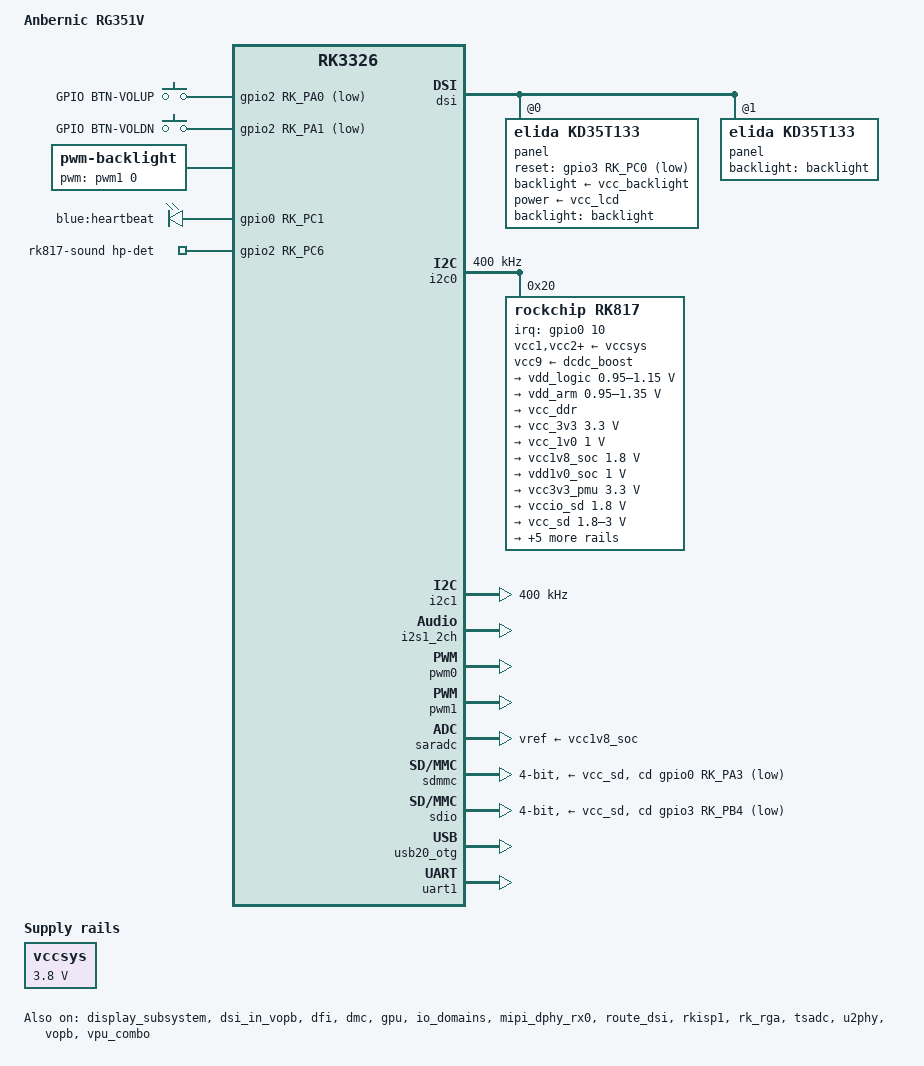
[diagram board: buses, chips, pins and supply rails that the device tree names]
// SPDX-License-Identifier: (GPL-2.0+ OR MIT)
/*
 * Copyright (c) 2021 Anbernic
 *
 * Anbernic RG351V
 *
 */

/dts-v1/;
#include <dt-bindings/display/drm_mipi_dsi.h>
#include <dt-bindings/gpio/gpio.h>
#include <dt-bindings/input/input.h>
#include <dt-bindings/pinctrl/rockchip.h>
#include <dt-bindings/sensor-dev.h>
#include "rockchip/rk3326.dtsi"
#include "rockchip/rk3326-linux.dtsi"

/ {
	model = "Anbernic RG351V";
	compatible = "rockchip,rk3326-rg351v-linux", "rockchip,rk3326";

	chosen {
                bootargs = "";
	};

	gpio_keys: rg351-keys {
		compatible = "gpio-keys";
		#address-cells = <1>;
		#size-cells = <0>;
		autorepeat;
		button@0 {
			label = "GPIO BTN-VOLUP";
			linux,code = <KEY_VOLUMEUP>;
			gpios = <&gpio2 RK_PA0 GPIO_ACTIVE_LOW>;
		};
		button@1 {
			label = "GPIO BTN-VOLDN";
			linux,code = <KEY_VOLUMEDOWN>;
			gpios = <&gpio2 RK_PA1 GPIO_ACTIVE_LOW>;
		};
	};

	fiq-debugger {
		compatible = "rockchip,fiq-debugger";
		rockchip,serial-id = <2>;
		rockchip,wake-irq = <0>;
		/* If enable uart uses irq instead of fiq */
		rockchip,irq-mode-enable = <0>;
		rockchip,baudrate = <115200>;  /* Only 115200 and 1500000 */
		interrupts = <GIC_SPI 127 IRQ_TYPE_LEVEL_LOW>;
		pinctrl-names = "default";
		pinctrl-0 = <&uart2m1_xfer>;
		status = "okay";
	};

	backlight: backlight {
		compatible = "pwm-backlight";
		pwms = <&pwm1 0 62745 0>;
		brightness-levels = <
			  2   3   4   5   6   7
			  8   9  10  11  12  13  14  15
			 16  17  18  19  20  21  22  23
			 24  25  26  27  28  29  30  31
			 32  33  34  35  36  37  38  39
			 40  41  42  43  44  45  46  47
			 48  49  50  51  52  53  54  55
			 56  57  58  59  60  61  62  63
			 64  65  66  67  68  69  70  71
			 72  73  74  75  76  77  78  79
			 80  81  82  83  84  85  86  87
			 88  89  90  91  92  93  94  95
			 96  97  98  99 100 101 102 >;
		default-brightness-level = <51>; /* default 50% */
	};

	leds: gpio_leds {
		compatible = "gpio-leds";

		pinctrl-names = "led_pins";
		pinctrl-0 = <&led_pins>;

		/* Blue LED : GPIO0_C1 */
		heartbeat {
			label = "blue:heartbeat";
			gpios = <&gpio0 RK_PC1 GPIO_ACTIVE_HIGH>;
			linux,default-trigger = "heartbeat";
		};
	};

	rk817-sound {
		compatible = "simple-audio-card";
		simple-audio-card,format = "i2s";
		simple-audio-card,name = "rockchip,rk817-codec";
		simple-audio-card,mclk-fs = <256>;
		simple-audio-card,widgets =
			"Microphone", "Mic Jack",
			"Headphone", "Headphone Jack";
		simple-audio-card,routing =
			"MIC_IN", "Mic Jack",
			/*"IN1P", "Mic Jack",*/
			"Headphone Jack", "HPOL",
			"Headphone Jack", "HPOR";
		simple-audio-card,hp-det-gpio = <&gpio2 RK_PC6 GPIO_ACTIVE_HIGH>;
		simple-audio-card,codec-hp-det = <1>;
		simple-audio-card,cpu {
			sound-dai = <&i2s1_2ch>;
		};
		simple-audio-card,codec {
			sound-dai = <&rk817_codec>;
		};
	};

	vccsys: vccsys {
		compatible = "regulator-fixed";
		regulator-name = "vcc3v8_sys";
		regulator-always-on;
		regulator-min-microvolt = <3800000>;
		regulator-max-microvolt = <3800000>;
	};

/*	vcc_host: vcc_host {
		compatible = "regulator-fixed";
		regulator-name = "vcc_host";
		regulator-min-microvolt = <5000000>;
		regulator-max-microvolt = <5000000>;

		gpio = <&gpio0 RK_PB7 GPIO_ACTIVE_HIGH>;
		enable-active-high;
		regulator-always-on;
		vin-supply = <&vccsys>;
	};*/
};

&bus_apll {
	bus-supply = <&vdd_logic>;
	status = "okay";
};

&cpu0 {
	cpu-supply = <&vdd_arm>;
};

&cpu0_opp_table {
	rockchip,avs = <1>;

	/* bin scaling clock 1.296MHz */
	rockchip,bin-scaling-sel = <
		0	10
		1	13
		2	16
		3	20
	>;

	/delete-node/ opp-408000000;
	/delete-node/ opp-600000000;
	/delete-node/ opp-696000000;
	/delete-node/ opp-1416000000;
	/delete-node/ opp-1512000000;

	opp-816000000 {
		opp-hz = /bits/ 64 <816000000>;
		opp-microvolt = <1050000 1050000 1350000>;
		opp-microvolt-L0 = <1050000 1050000 1350000>;
		opp-microvolt-L1 = <1000000 1000000 1350000>;
		opp-microvolt-L2 = <1000000 1000000 1350000>;
		opp-microvolt-L3 = <950000  950000  1350000>;
		clock-latency-ns = <40000>;
		opp-suspend;
	};

	opp-912000000 {
		opp-hz = /bits/ 64 <912000000>;
		opp-microvolt = <1125000 1125000 1350000>;
		opp-microvolt-L0 = <1125000 1125000 1350000>;
		opp-microvolt-L1 = <1075000 1075000 1350000>;
		opp-microvolt-L2 = <1075000 1075000 1350000>;
		opp-microvolt-L3 = <1000000 1000000 1350000>;
		clock-latency-ns = <40000>;
	};

	opp-1008000000 {
		opp-hz = /bits/ 64 <1008000000>;
		opp-microvolt = <1175000 1175000 1350000>;
		opp-microvolt-L0 = <1175000 1175000 1350000>;
		opp-microvolt-L1 = <1125000 1125000 1350000>;
		opp-microvolt-L2 = <1125000 1125000 1350000>;
		opp-microvolt-L3 = <1050000 1050000 1350000>;
		clock-latency-ns = <40000>;
	};

	opp-1200000000 {
		opp-hz = /bits/ 64 <1200000000>;
		opp-microvolt = <1300000 1300000 1350000>;
		opp-microvolt-L0 = <1300000 1300000 1350000>;
		opp-microvolt-L1 = <1275000 1275000 1350000>;
		opp-microvolt-L2 = <1250000 1250000 1350000>;
		opp-microvolt-L3 = <1200000 1200000 1350000>;
		clock-latency-ns = <40000>;
	};

	opp-1248000000 {
		opp-hz = /bits/ 64 <1248000000>;
		opp-microvolt = <1350000 1350000 1350000>;
		opp-microvolt-L0 = <1350000 1350000 1350000>;
		opp-microvolt-L1 = <1300000 1300000 1350000>;
		opp-microvolt-L2 = <1275000 1275000 1350000>;
		opp-microvolt-L3 = <1225000 1225000 1350000>;
		clock-latency-ns = <40000>;
	};

	opp-1296000000 {
		opp-hz = /bits/ 64 <1296000000>;
		opp-microvolt = <1350000 1350000 1350000>;
		opp-microvolt-L0 = <1350000 1350000 1350000>;
		opp-microvolt-L1 = <1350000 1350000 1350000>;
		opp-microvolt-L2 = <1300000 1300000 1350000>;
		opp-microvolt-L3 = <1250000 1250000 1350000>;
		clock-latency-ns = <40000>;
	};

	opp-1320000000 {
		opp-hz = /bits/ 64 <1320000000>;
		opp-microvolt = <1350000 1350000 1350000>;
		opp-microvolt-L0 = <1350000 1350000 1350000>;
		opp-microvolt-L1 = <1350000 1350000 1350000>;
		opp-microvolt-L2 = <1300000 1300000 1350000>;
		opp-microvolt-L3 = <1250000 1250000 1350000>;
		clock-latency-ns = <40000>;
	};

	opp-1344000000 {
		opp-hz = /bits/ 64 <1344000000>;
		opp-microvolt = <1350000 1350000 1350000>;
		opp-microvolt-L0 = <1350000 1350000 1350000>;
		opp-microvolt-L1 = <1350000 1350000 1350000>;
		opp-microvolt-L2 = <1300000 1300000 1350000>;
		opp-microvolt-L3 = <1250000 1250000 1350000>;
		clock-latency-ns = <40000>;
	};

	opp-1368000000 {
		opp-hz = /bits/ 64 <1368000000>;
		opp-microvolt = <1350000 1350000 1350000>;
		opp-microvolt-L0 = <1350000 1350000 1350000>;
		opp-microvolt-L1 = <1350000 1350000 1350000>;
		opp-microvolt-L2 = <1300000 1300000 1350000>;
		opp-microvolt-L3 = <1250000 1250000 1350000>;
		clock-latency-ns = <40000>;
	};
};

&display_subsystem {
	status = "okay";
};

&dsi {
	status = "okay";

	panel@0 {
		compatible = "elida,kd35t133", "simple-panel-dsi";
		reg = <0>;
		id = [30 52];

		/* pwm1 backlight */
		backlight = <&backlight>;
		/* RK817 LDO7 */
		backlight-supply = <&vcc_backlight>;
		/* RK817 LDO8 */
		power-supply = <&vcc_lcd>;

		/* Rev 0.2 LCD reset gpio GPIO3.C0 */
		reset-gpios = <&gpio3 RK_PC0 GPIO_ACTIVE_LOW>;

		prepare-delay-ms = <20>;
		reset-delay-ms = <150>;
		init-delay-ms = <20>;
		enable-delay-ms = <120>;
		disable-delay-ms = <50>;
		unprepare-delay-ms = <20>;

		/* LCD size */
		width-mm = <52>;
		height-mm = <70>;

		dsi,flags = <(MIPI_DSI_MODE_VIDEO           |
			      MIPI_DSI_MODE_VIDEO_BURST     |
			      MIPI_DSI_MODE_LPM             |
			      MIPI_DSI_MODE_EOT_PACKET)>;

		dsi,format = <MIPI_DSI_FMT_RGB888>;
		dsi,lanes = <4>;

		/*
			- panel-init-sequence data description -
			  mipi_cmd, delay(ms), len, lcd_cmd, lcd_data...

			- mipi_cmd description -
			  05 : MIPI_DSI_SHORT_WRITE
			  15 : MIPI_DSI_SHORT_WRITE_PARAM
			  39 : MIPI_DSI_LONG_WRITE

			- ILI9486 (Initialize sequence) -
			  11: Sleep out & 250ms wait
			  E0: PositiveGamma
			  E1: NegativeGamma
			  C0: PowerControl_1
			  C1: PowerControl_2
			  C5: VcomControl
			  36: MemoryAccess
			  3A: InterfacePixelFormat
			  B0: InterfaceModeControl
			  B1: FrameRateControl
			  B4: DisplayInversionControl
			  B6: DisplayFunctionControl
			  E9: SetImageFunction
			  F7: AdjustControl_3
			  21: DisplayInversionOn
			  29: DisplayOn & 50ms wait
		*/

		panel-init-sequence = [
			15 00 02 FF 30
			15 00 02 FF 52
			15 00 02 FF 01
			15 00 02 E3 00
			15 00 02 03 40
			15 00 02 04 00
			15 00 02 05 03
			15 00 02 24 12
			15 00 02 25 1E
			15 00 02 26 28
			15 00 02 27 52
			15 00 02 28 57
			15 00 02 29 01
			15 00 02 2A DF
			15 00 02 38 9C
			15 00 02 39 A7
			15 00 02 3A 53
			15 00 02 44 00
			15 00 02 49 3C
			15 00 02 59 FE
			15 00 02 5C 00
			15 00 02 91 77
			15 00 02 92 77
			15 00 02 A0 55
			15 00 02 A1 50
			15 00 02 A4 9C
			15 00 02 A7 02
			15 00 02 A8 01
			15 00 02 A9 01
			15 00 02 AA FC
			15 00 02 AB 28
			15 00 02 AC 06
			15 00 02 AD 06
			15 00 02 AE 06
			15 00 02 AF 03
			15 00 02 B0 08
			15 00 02 B1 26
			15 00 02 B2 28
			15 00 02 B3 28
			15 00 02 B4 33
			15 00 02 B5 08
			15 00 02 B6 26
			15 00 02 B7 08
			15 00 02 B8 26
			15 00 02 FF 30
			15 00 02 FF 52
			15 00 02 FF 02
			15 00 02 B0 0B
			15 00 02 B1 16
			15 00 02 B2 17
			15 00 02 B3 2C
			15 00 02 B4 32
			15 00 02 B5 3B
			15 00 02 B6 29
			15 00 02 B7 40
			15 00 02 B8 0D
			15 00 02 B9 05
			15 00 02 BA 12
			15 00 02 BB 10
			15 00 02 BC 12
			15 00 02 BD 15
			15 00 02 BE 19
			15 00 02 BF 0E
			15 00 02 C0 16
			15 00 02 C1 0A
			15 00 02 D0 0C
			15 00 02 D1 17
			15 00 02 D2 14
			15 00 02 D3 2E
			15 00 02 D4 32
			15 00 02 D5 3C
			15 00 02 D6 22
			15 00 02 D7 3D
			15 00 02 D8 0D
			15 00 02 D9 07
			15 00 02 DA 13
			15 00 02 DB 13
			15 00 02 DC 11
			15 00 02 DD 15
			15 00 02 DE 19
			15 00 02 DF 10
			15 00 02 E0 17
			15 00 02 E1 0A
			15 00 02 FF 30
			15 00 02 FF 52
			15 00 02 FF 03
			15 00 02 00 2A
			15 00 02 01 2A
			15 00 02 02 2A
			15 00 02 03 2A
			15 00 02 04 61
			15 00 02 05 80
			15 00 02 06 C7
			15 00 02 07 01
			15 00 02 08 82
			15 00 02 09 83
			15 00 02 30 2A
			15 00 02 31 2A
			15 00 02 32 2A
			15 00 02 33 2A
			15 00 02 34 61
			15 00 02 35 C5
			15 00 02 36 80
			15 00 02 37 23
			15 00 02 40 82
			15 00 02 41 83
			15 00 02 42 80
			15 00 02 43 81
			15 00 02 44 11
			15 00 02 45 E6
			15 00 02 46 E5
			15 00 02 47 11
			15 00 02 48 E8
			15 00 02 49 E7
			15 00 02 50 02
			15 00 02 51 01
			15 00 02 52 04
			15 00 02 53 03
			15 00 02 54 11
			15 00 02 55 EA
			15 00 02 56 E9
			15 00 02 57 11
			15 00 02 58 EC
			15 00 02 59 EB
			15 00 02 7E 02
			15 00 02 7F 80
			15 00 02 E0 5A
			15 00 02 B1 00
			15 00 02 B4 0E
			15 00 02 B5 0F
			15 00 02 B6 04
			15 00 02 B7 07
			15 00 02 B8 06
			15 00 02 B9 05
			15 00 02 BA 0F
			15 00 02 C7 00
			15 00 02 CA 0E
			15 00 02 CB 0F
			15 00 02 CC 04
			15 00 02 CD 07
			15 00 02 CE 06
			15 00 02 CF 05
			15 00 02 D0 0F
			15 00 02 81 0F
			15 00 02 84 0E
			15 00 02 85 0F
			15 00 02 86 07
			15 00 02 87 04
			15 00 02 88 05
			15 00 02 89 06
			15 00 02 8A 00
			15 00 02 97 0F
			15 00 02 9A 0E
			15 00 02 9B 0F
			15 00 02 9C 07
			15 00 02 9D 04
			15 00 02 9E 05
			15 00 02 9F 06
			15 00 02 A0 00
			15 00 02 FF 30
			15 00 02 FF 52
			15 00 02 FF 02
			15 00 02 01 01
			15 00 02 02 DA
			15 00 02 03 BA
			15 00 02 04 A8
			15 00 02 05 9A
			15 00 02 06 70
			15 00 02 07 FF
			15 00 02 08 91
			15 00 02 09 90
			15 00 02 0A FF
			15 00 02 0B 8F
			15 00 02 0C 60
			15 00 02 0D 58
			15 00 02 0E 48
			15 00 02 0F 38
			15 00 02 10 2B
			15 00 02 FF 30
			15 00 02 FF 52
			15 00 02 FF 00
			15 00 02 36 02
			15 00 02 3A 70
			05 C8 01 11
			05 0A 01 29
		];

		/* 28: DisplayOff */
		/* 10: SleepIn */
		panel-exit-sequence = [
			05 14 01 28
			05 0A 01 10
		];

		panel-read-id-sequence = [
			05 00 02 00 00
		];

		display-timings {
			native-mode = <&timing0>;

			timing0: timing0 {
				clock-frequency = <26400000>;
				hactive = <640>;
				vactive = <480>;
				hfront-porch = <119>;
				hsync-len = <2>;
				hback-porch = <119>;
				vfront-porch = <13>;
				vsync-len = <2>;
				vback-porch = <5>;
				hsync-active = <0>;
				vsync-active = <0>;
				de-active = <0>;
				pixelclk-active = <0>;
			};
		};
	};

	panel@1 {
		status = "okay";
		compatible = "elida,kd35t133", "simple-panel-dsi";
		/* don't register this panel */
		//reg = <0>; 
		id = [38 21];
		backlight = <&backlight>;
		//power-supply = <&vcc_lcd>;
		//gpio = <&gpio0 RK_PC2 GPIO_ACTIVE_HIGH>;
		//reset-gpios = <&gpio0 RK_PA6 GPIO_ACTIVE_LOW>;
		prepare-delay-ms = <20>;
		reset-delay-ms = <150>;
		init-delay-ms = <20>;
		enable-delay-ms = <120>;
		disable-delay-ms = <50>;
		unprepare-delay-ms = <20>;

		dsi,flags = <(MIPI_DSI_MODE_VIDEO	   |
			      MIPI_DSI_MODE_VIDEO_BURST     |
			      MIPI_DSI_MODE_LPM	     |
			      MIPI_DSI_MODE_EOT_PACKET)>;
		dsi,format = <MIPI_DSI_FMT_RGB888>;
		dsi,lanes  = <4>;
		panel-init-sequence = [
			39 00 04 b9 f1 12 83
			39 00 06 b1 00 00 00 da 80
			39 00 04 b2 00 13 70
			39 00 0b b3 10 10 28 28 03 ff 00 00 00 00
			15 00 02 b4 80
			15 00 03 b5 0a 0a
			15 00 03 b6 7f 7f
			39 00 05 b8 26 62 f0 63
			39 00 1c ba 33 81 05 f9 0e 0e 20 00 00 00 00 00 00 00 
				 44 25 00 90 0a 00 00 01 4f 01 00 00 37
			15 00 02 bc 47
			39 00 04 bf 02 11 00
			39 00 0a c0 73 73 50 50 00 00 12 50 00
			39 00 0d c1 53 c0 32 32 77 e1 dd dd 77 77 33 33
			39 00 07 c6 82 00 bf ff 00 ff
			39 00 07 c7 b8 00 0a 00 00 00
			39 00 05 c8 10 40 1e 02
			15 00 02 cc 0b
			39 00 23 e0 00 07 0d 37 35 3f 41 44 06 0c 0d 0f 11 10
				 12 14 1a 00 07 0d 37 35 3f 41 44 06 0c 0d 0f
				 11 10 12 14 1a
			39 00 0f e3 07 07 0b 0b 0b 0b 00 00 00 00 ff 00 c0 10
			39 00 40 e9 c8 10 02 00 00 b0 b1 11 31 23 28 80 b0 b1
				 27 08 00 04 02 00 00 00 00 04 02 00 00 00 88
				 88 ba 60 24 08 88 88 88 88 88 88 88 ba 71 35
				 18 88 88 88 88 88 00 00 00 01 00 00 00 00 00
				 00 00 00 00   
			39 00 3e ea 97 0a 82 02 03 07 00 00 00 00 00 00 81 88
				 ba 17 53 88 88 88 88 88 88 80 88 ba 06 42 88
				 88 88 88 88 88 23 00 00 02 80 00 00 00 00 00
				 00 00 00 00 00 00 00 00 00 00 00 00 00 00 00
				 00 00
			39 00 04 ef ff ff 01
			05 c8 01 11
			05 32 01 29
		];

		panel-exit-sequence = [
			05 14 01 28
			05 0A 01 10
		];

		panel-read-id-sequence = [
			05 00 02 00 00
		];

		display-timings {
			native-mode = <&timing1>;
			timing1: timing1 {
				clock-frequency = <26400000>;
				hactive = <640>;
				vactive = <480>;
				hfront-porch = <119>;
				hsync-len = <2>;
				hback-porch = <119>;
				vfront-porch = <13>;
				vsync-len = <2>;
				vback-porch = <5>;
				hsync-active = <0>;
				vsync-active = <0>;
				de-active = <0>;
				pixelclk-active = <0>;
			};
		};
	};
};

&dsi_in_vopb {
	status = "okay";
};

&dfi {
	status = "okay";
};

&dmc {
	status = "okay";
	center-supply = <&vdd_logic>;
	upthreshold = <40>;
	downdifferential = <20>;
	system-status-freq = <
		/*system status         freq(KHz)*/
		SYS_STATUS_NORMAL       666000
		SYS_STATUS_REBOOT       786000
		SYS_STATUS_SUSPEND      450000
		SYS_STATUS_VIDEO_1080P  666000
		SYS_STATUS_VIDEO_4K     786000
		SYS_STATUS_VIDEO_4K_10B 786000
		SYS_STATUS_PERFORMANCE  850000
		SYS_STATUS_BOOST        850000
		SYS_STATUS_DUALVIEW     786000
		SYS_STATUS_ISP          786000
	>;

	auto-min-freq = <450000>;
	auto-freq-en = <1>;
};

&dmc_opp_table {
	/delete-node/ opp-194000000;
	/delete-node/ opp-328000000;
	/delete-node/ opp-786000000;

	opp-450000000 {
		opp-hz = /bits/ 64 <450000000>;
		opp-microvolt = <950000>;
	};

	opp-528000000 {
		opp-hz = /bits/ 64 <528000000>;
		opp-microvolt = <975000>;
	};

	opp-666000000 {
		opp-hz = /bits/ 64 <666000000>;
		opp-microvolt = <1050000>;
	};

	opp-786000000 {
		opp-hz = /bits/ 64 <786000000>;
		opp-microvolt = <1150000>;
	};

	opp-840000000 {
		opp-hz = /bits/ 64 <840000000>;
		opp-microvolt = <1150000>;
	};
};

&emmc {
	status = "disabled";
};

&gpu {
	mali-supply = <&vdd_logic>;
	status = "okay";
};

&gpu_opp_table {
	/delete-node/ opp-200000000;
	/delete-node/ opp-300000000;
	/delete-node/ opp-520000000;

	opp-400000000 {
		opp-hz = /bits/ 64 <400000000>;
		opp-microvolt = <1050000>;
		opp-microvolt-L0 = <1050000>;
		opp-microvolt-L1 = <1025000>;
		opp-microvolt-L2 = <975000>;
		opp-microvolt-L3 = <950000>;
	};
	opp-480000000 {
		opp-hz = /bits/ 64 <480000000>;
		opp-microvolt = <1125000>;
		opp-microvolt-L0 = <1125000>;
		opp-microvolt-L1 = <1100000>;
		opp-microvolt-L2 = <1050000>;
		opp-microvolt-L3 = <1000000>;
	};

	opp-520000000 {
		opp-hz = /bits/ 64 <520000000>;
		opp-microvolt = <1150000>;
		opp-microvolt-L0 = <1150000>;
		opp-microvolt-L1 = <1150000>;
		opp-microvolt-L2 = <1100000>;
		opp-microvolt-L3 = <1050000>;
	};

	opp-540000000 {
		opp-hz = /bits/ 64 <540000000>;
		opp-microvolt = <1150000>;
		opp-microvolt-L0 = <1150000>;
		opp-microvolt-L1 = <1150000>;
		opp-microvolt-L2 = <1100000>;
		opp-microvolt-L3 = <1050000>;
	};

	opp-560000000 {
		opp-hz = /bits/ 64 <560000000>;
		opp-microvolt = <1150000>;
		opp-microvolt-L0 = <1150000>;
		opp-microvolt-L1 = <1150000>;
		opp-microvolt-L2 = <1100000>;
		opp-microvolt-L3 = <1050000>;
	};
};

&i2c0 {
	status = "okay";
	clock-frequency = <400000>;
	i2c-scl-rising-time-ns = <280>;
	i2c-scl-falling-time-ns = <16>;

	rk817: pmic@20 {
		compatible = "rockchip,rk817";
		reg = <0x20>;
		interrupt-parent = <&gpio0>;
		interrupts = <10 IRQ_TYPE_LEVEL_LOW>;
		pinctrl-names = "default", "pmic-sleep",
				"pmic-power-off", "pmic-reset";
		pinctrl-0 = <&pmic_int>;
		pinctrl-1 = <&soc_slppin_slp>, <&rk817_slppin_slp>;
		pinctrl-2 = <&soc_slppin_gpio>, <&rk817_slppin_pwrdn>;
		pinctrl-3 = <&soc_slppin_rst>, <&rk817_slppin_rst>;
		rockchip,system-power-controller;
		wakeup-source;
		#clock-cells = <1>;
		clock-output-names = "rk808-clkout1", "rk808-clkout2";
		//fb-inner-reg-idxs = <2>;

		/* 1: rst regs (default in codes), 0: rst the pmic */
		pmic-reset-func = <1>;

		vcc1-supply = <&vccsys>;
		vcc2-supply = <&vccsys>;
		vcc3-supply = <&vccsys>;
		vcc4-supply = <&vccsys>;
		vcc5-supply = <&vccsys>;
		vcc6-supply = <&vccsys>;
		vcc7-supply = <&vccsys>;
		vcc8-supply = <&vccsys>;
		vcc9-supply = <&dcdc_boost>;

		pwrkey {
			status = "okay";
		};

		pinctrl_rk8xx: pinctrl_rk8xx {
			gpio-controller;
			#gpio-cells = <2>;

			rk817_ts_gpio1: rk817_ts_gpio1 {
				pins = "gpio_ts";
				function = "pin_fun1";
				/* output-low; */
				/* input-enable; */
			};

			rk817_gt_gpio2: rk817_gt_gpio2 {
				pins = "gpio_gt";
				function = "pin_fun1";
			};

			rk817_pin_ts: rk817_pin_ts {
				pins = "gpio_ts";
				function = "pin_fun0";
			};

			rk817_pin_gt: rk817_pin_gt {
				pins = "gpio_gt";
				function = "pin_fun0";
			};

			rk817_slppin_null: rk817_slppin_null {
				pins = "gpio_slp";
				function = "pin_fun0";
			};

			rk817_slppin_slp: rk817_slppin_slp {
				pins = "gpio_slp";
				function = "pin_fun1";
			};

			rk817_slppin_pwrdn: rk817_slppin_pwrdn {
				pins = "gpio_slp";
				function = "pin_fun2";
			};

			rk817_slppin_rst: rk817_slppin_rst {
				pins = "gpio_slp";
				function = "pin_fun3";
			};
		};

		regulators {
			vdd_logic: DCDC_REG1 {
				regulator-always-on;
				regulator-boot-on;
				regulator-min-microvolt = <950000>;
				regulator-max-microvolt = <1150000>;
				regulator-ramp-delay = <6001>;
				regulator-initial-mode = <0x2>;
				regulator-name = "vdd_logic";
				regulator-state-mem {
					regulator-on-in-suspend;
					regulator-suspend-microvolt = <950000>;
				};
			};

			vdd_arm: DCDC_REG2 {
				regulator-always-on;
				regulator-boot-on;
				regulator-min-microvolt = <950000>;
				regulator-max-microvolt = <1350000>;
				regulator-ramp-delay = <6001>;
				regulator-initial-mode = <0x2>;
				regulator-name = "vdd_arm";
				regulator-state-mem {
					regulator-off-in-suspend;
					regulator-suspend-microvolt = <950000>;
				};
			};

			vcc_ddr: DCDC_REG3 {
				regulator-always-on;
				regulator-boot-on;
				regulator-initial-mode = <0x2>;
				regulator-name = "vcc_ddr";
				regulator-state-mem {
					regulator-on-in-suspend;
				};
			};

			vcc_3v3: DCDC_REG4 {
				regulator-always-on;
				regulator-boot-on;
				regulator-min-microvolt = <3300000>;
				regulator-max-microvolt = <3300000>;
				regulator-initial-mode = <0x2>;
				regulator-name = "vcc_3v3";
				regulator-state-mem {
					regulator-off-in-suspend;
					regulator-suspend-microvolt = <3300000>;
				};
			};

			/* Not Used */
			vcc_1v0: LDO_REG1 {
				regulator-min-microvolt = <1000000>;
				regulator-max-microvolt = <1000000>;
				regulator-name = "vcc_1v0";
				regulator-state-mem {
					regulator-off-in-suspend;
					regulator-suspend-microvolt = <1000000>;
				};
			};

			vcc1v8_soc: LDO_REG2 {
				regulator-always-on;
				regulator-boot-on;
				regulator-min-microvolt = <1800000>;
				regulator-max-microvolt = <1800000>;

				regulator-name = "vcc1v8_soc";
				regulator-state-mem {
					regulator-on-in-suspend;
					regulator-suspend-microvolt = <1800000>;
				};
			};

			vdd1v0_soc: LDO_REG3 {
				regulator-always-on;
				regulator-boot-on;
				regulator-min-microvolt = <1000000>;
				regulator-max-microvolt = <1000000>;

				regulator-name = "vcc1v0_soc";
				regulator-state-mem {
					regulator-on-in-suspend;
					regulator-suspend-microvolt = <1000000>;
				};
			};

			vcc3v3_pmu: LDO_REG4 {
				regulator-always-on;
				regulator-boot-on;
				regulator-min-microvolt = <3300000>;
				regulator-max-microvolt = <3300000>;

				regulator-name = "vcc3v3_pmu";
				regulator-state-mem {
					regulator-on-in-suspend;
					regulator-suspend-microvolt = <3300000>;

				};
			};

			vccio_sd: LDO_REG5 {
				regulator-always-on;
				regulator-boot-on;
				regulator-min-microvolt = <1800000>;
				regulator-max-microvolt = <1800000>;

				regulator-name = "vccio_sd";
				regulator-state-mem {
					regulator-on-in-suspend;
					regulator-suspend-microvolt = <1800000>;
				};
			};

			vcc_sd: LDO_REG6 {
				regulator-min-microvolt = <1800000>;
				regulator-max-microvolt = <3000000>;
				regulator-boot-on;

				regulator-name = "vcc_sd";
				regulator-state-mem {
					regulator-on-in-suspend;
					regulator-suspend-microvolt = <3000000>;

				};
			};

			/* Rev 0.2 LCD Backlight Power */
			vcc_backlight: LDO_REG7 {
				regulator-min-microvolt = <3300000>;
				regulator-max-microvolt = <3300000>;
				regulator-name = "vcc_backlight";
				regulator-state-mem {
					regulator-off-in-suspend;
					regulator-suspend-microvolt = <3300000>;
				};
			};

			/* Rev 0.2 LCD IO Power */
			vcc_lcd: LDO_REG8 {
				regulator-min-microvolt = <2800000>;
				regulator-max-microvolt = <2800000>;
				regulator-name = "vcc_lcd";
				regulator-state-mem {
					regulator-off-in-suspend;
					regulator-suspend-microvolt = <2800000>;
				};
			};

			/* Rev 1.1 WIFI Power */
			vcc_wifi: LDO_REG9 {
				regulator-always-on;
				regulator-boot-on;
				regulator-min-microvolt = <3300000>;
				regulator-max-microvolt = <3300000>;

				regulator-name = "vcc_wifi";
				regulator-state-mem {
					regulator-off-in-suspend;
					regulator-suspend-microvolt = <3300000>;
				};
			};

			dcdc_boost: BOOST {
				regulator-always-on;
				regulator-boot-on;
				regulator-min-microvolt = <5000000>;
				regulator-max-microvolt = <5400000>;
				regulator-name = "boost";
			};

			otg_switch: OTG_SWITCH {
				regulator-boot-on;
				regulator-name = "otg_switch";
			};
		};

		battery {
			compatible = "rk817,battery";
			ocv_table = <3165 3220 3280 3330 3380 3430 3480
			3530 3580 3630 3670 3710 3750 3790
			3830 3870 3910 3950 3990 3995 4000>;


			/* KPL605475 Battery Spec */
			/*
				Capacity : 3.7V 3000mA
				Normal Voltage = 3.7V
				Cut-Off Voltage : 3.1V
				Internal Impedance : 180 mOhm
				Charging Voltage : 4.2V
				Charging Voltage Max : 4.25V
				Sample resister : 10 mohm
			*/
			design_capacity = <3380>;
			design_qmax = <3718>;
			bat_res = <100>;
			sleep_enter_current = <300>;
			sleep_exit_current = <300>;
			sleep_filter_current = <100>;
			power_off_thresd = <3000>;
			zero_algorithm_vol = <3850>;
			max_soc_offset = <60>;
			monitor_sec = <5>;
			virtual_power = <0>;
			sample_res = <10>;
			power_dc2otg = <0>;
		};

		charger {
			compatible = "rk817,charger";
			min_input_voltage = <4500>;
			max_input_current = <1500>;
			max_chrg_current = <2000>;
			max_chrg_voltage = <4200>;
			chrg_term_mode = <0>;
			chrg_finish_cur = <52>;
			virtual_power = <0>;
			sample_res = <10>;


			/* P.C.B rev0.2 DC Detect & Charger Status LED GPIO */
			dc_det_gpio  = <&gpio0 RK_PB3 GPIO_ACTIVE_HIGH>;
			bat_low_gpio = <&gpio2 RK_PB5 GPIO_ACTIVE_HIGH>;

			extcon = <&u2phy>;
		};

		rk817_codec: codec {
			#sound-dai-cells = <0>;
			compatible = "rockchip,rk817-codec";
			clocks = <&cru SCLK_I2S1_OUT>;
			clock-names = "mclk";
			pinctrl-names = "default";
			pinctrl-0 = <&i2s1_2ch_mclk>;
			hp-volume = <20>;
			spk-volume = <3>;
			status = "okay";
		};
	};
};

/* EXT Header(P2) : 7(SCL:GPIO0.C2), 8(SDA:GPIO0.C3) */
&i2c1 {
	status = "okay";
	clock-frequency = <400000>;
};

/* MIPI CSI I2C */
&i2c2 {
	status = "disabled";
};

/* I2S 1 Channel Used */
&i2s1_2ch {
	status = "okay";
	#sound-dai-cells = <0>;
};

&io_domains {
	/* GRF Register Voltage select control */
	status = "okay";

	/* SDIO I/O Voltage */
	vccio1-supply = <&vccio_sd>;
	/* SDMMC I/O Voltage */
	vccio2-supply = <&vccio_sd>;
	/* CAM I/O Voltage */
	vccio3-supply = <&vcc_3v3>;
	/* LVDS/LCDC I/O Voltage */
	vccio4-supply = <&vcc_3v3>;
	/* I2S I/O Voltage */
	vccio5-supply = <&vcc_3v3>;
	/* eMMC I/O Voltage */
	vccio6-supply = <&vcc_3v3>;
};

&isp_mmu {
	status = "okay";
};

&mipi_dphy_rx0 {
	status = "okay";
};

&pmu_io_domains {
	/* PMU GRF Register Voltage select control */
	status = "okay";

	/* PMU I/O Voltage */
	pmuio1-supply = <&vcc3v3_pmu>;
	/* GPIO0_B/GPIO0_C, Flash */
	pmuio2-supply = <&vcc3v3_pmu>;
};

/* RG351V Motor PWM */
&pwm0 {
	status = "okay";
};

/* LCD Backlight PWM */
&pwm1 {
	status = "okay";
};

&route_dsi {
	connect = <&vopb_out_dsi>;
	status = "okay";
};

&rkisp1 {
	status = "okay";
};

&rk_rga {
	status = "okay";
};

&rockchip_suspend {
	status = "okay";
	rockchip,sleep-debug-en = <1>;
};

&sfc {
	status = "disabled";
};

&spi0 {
	status = "disabled";
};

&saradc {
	status = "okay";
	vref-supply = <&vcc1v8_soc>;
};

&sdmmc {
	bus-width = <4>;
	cap-mmc-highspeed;
	cap-sd-highspeed;
	supports-sd;
	card-detect-delay = <800>;
	ignore-pm-notify;
	cd-gpios = <&gpio0 RK_PA3 GPIO_ACTIVE_LOW>; /*[> CD GPIO <]*/
	sd-uhs-sdr12;
	sd-uhs-sdr25;
	sd-uhs-sdr50;
	sd-uhs-sdr104;
	vqmmc-supply = <&vccio_sd>;
	vmmc-supply = <&vcc_sd>;
	status = "okay";
};

&sdio {
	bus-width = <4>;
	cap-mmc-highspeed;
	cap-sd-highspeed;
	supports-sd;
	card-detect-delay = <800>;
	ignore-pm-notify;
	cd-gpios = <&gpio3 RK_PB4 GPIO_ACTIVE_LOW>; /*[> CD GPIO <]*/
	sd-uhs-sdr12;
	sd-uhs-sdr25;
	sd-uhs-sdr50;
	sd-uhs-sdr104;
	vqmmc-supply = <&vccio_sd>;
	vmmc-supply = <&vcc_sd>;
	status = "okay";
};

&tsadc {
	pinctrl-names = "gpio", "otpout";
	pinctrl-0 = <&tsadc_otp_gpio>;
	pinctrl-1 = <&tsadc_otp_out>;
	status = "okay";
};

&u2phy {
	status = "okay";

	u2phy_host: host-port {
		status = "okay";
	};

	u2phy_otg: otg-port {
		status = "disabled";
	};
};

&usb20_otg {
	status = "okay";
};

/*
	EXT Header(P2) UART :
	2(RXD:GPIO1.C0),3(TXD:GPIO1.C1),4(CTS:GPIO1.C2),5(RTS:GPIO1.C3)
*/
&uart1 {
	pinctrl-names = "default";
	pinctrl-0 = <&uart1_xfer &uart1_cts>;
	status = "okay";
};

&vip_mmu {
	status = "okay";
};

&vopb {
	status = "okay";
};

&vopb_mmu {
	status = "okay";
};

&vpu_combo {
	status = "okay";
};

&pinctrl {

	pmic {
		/* ODROID-GO2 : PMIC_INT(GPIO0.PB2) */
		pmic_int: pmic_int {
			rockchip,pins =
				<0 RK_PB2 RK_FUNC_GPIO &pcfg_pull_up>,
				<0 RK_PB3 RK_FUNC_GPIO &pcfg_pull_none>;
		};

		/* ODROID-GO2 : PMIC_SLEEP(GPIO0.PA4) */
		soc_slppin_gpio: soc_slppin_gpio {
			rockchip,pins =
				<0 RK_PA4 RK_FUNC_GPIO &pcfg_output_low>;
		};

		soc_slppin_slp: soc_slppin_slp {
			rockchip,pins =
				<0 RK_PA4 RK_FUNC_1 &pcfg_pull_none>;
		};

		soc_slppin_rst: soc_slppin_rst {
			rockchip,pins =
				<0 RK_PA4 RK_FUNC_2 &pcfg_pull_none>;
		};
	};

	leds {
		led_pins: led-pins {
			rockchip,pins = <0 RK_PC1 RK_FUNC_GPIO &pcfg_pull_none>;
		};
	};
	btns {
		btn_pins: btn-pins {
			rockchip,pins = <1 RK_PB4 RK_FUNC_GPIO &pcfg_pull_up>,
					<1 RK_PB5 RK_FUNC_GPIO &pcfg_pull_up>,
					<1 RK_PB6 RK_FUNC_GPIO &pcfg_pull_up>,
					<1 RK_PB7 RK_FUNC_GPIO &pcfg_pull_up>,
					<1 RK_PA2 RK_FUNC_GPIO &pcfg_pull_up>,
					<1 RK_PA5 RK_FUNC_GPIO &pcfg_pull_up>,
					<1 RK_PA6 RK_FUNC_GPIO &pcfg_pull_up>,
					<1 RK_PA7 RK_FUNC_GPIO &pcfg_pull_up>,

					<2 RK_PA0 RK_FUNC_GPIO &pcfg_pull_up>,
					<2 RK_PA1 RK_FUNC_GPIO &pcfg_pull_up>,
					<2 RK_PA2 RK_FUNC_GPIO &pcfg_pull_up>,
					<2 RK_PA3 RK_FUNC_GPIO &pcfg_pull_up>,
					<2 RK_PA4 RK_FUNC_GPIO &pcfg_pull_up>,
					<2 RK_PA5 RK_FUNC_GPIO &pcfg_pull_up>,
					<2 RK_PA6 RK_FUNC_GPIO &pcfg_pull_up>,
					<2 RK_PA7 RK_FUNC_GPIO &pcfg_pull_up>,
					<3 RK_PB2 RK_FUNC_GPIO &pcfg_pull_up>,
					<3 RK_PB7 RK_FUNC_GPIO &pcfg_pull_up>;
		};
	};
};

/* DON'T PUT ANYTHING BELOW HERE.  PUT IT ABOVE PINCTRL */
